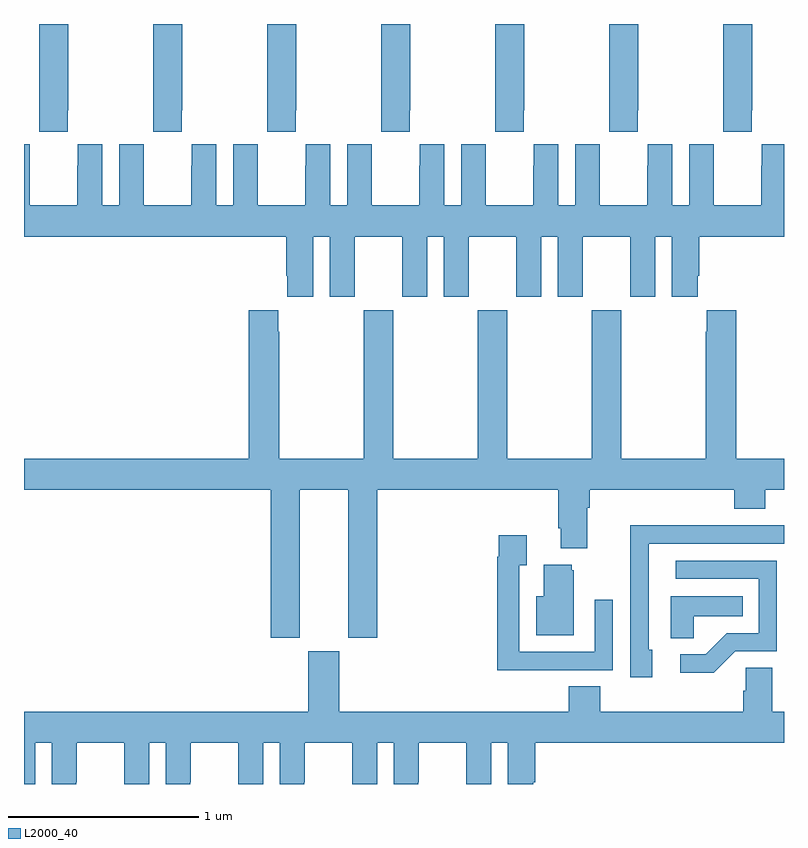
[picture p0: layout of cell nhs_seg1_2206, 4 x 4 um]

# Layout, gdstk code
import gdstk
lib = gdstk.Library(unit=1e-6, precision=1e-09)
def P(c, l, *ps):  # polygons
    for p in ps: c.add(gdstk.Polygon(p, *l))
L2000_40 = (2000, 40)

nhs_seg1_2206 = lib.new_cell('nhs_seg1_2206')
P(nhs_seg1_2206, L2000_40, [(232.431,537.745),(232.434,537.745),(232.434,538.199),(232.279,538.199),(232.279,537.745),(232.281,537.745),(232.281,537.633),(232.431,537.633)],
  [(233.031,537.745),(233.034,537.745),(233.034,538.199),(232.879,538.199),(232.879,537.745),(232.881,537.745),(232.881,537.633),(233.031,537.633)],
  [(233.631,537.745),(233.634,537.745),(233.634,538.199),(233.479,538.199),(233.479,537.745),(233.481,537.745),(233.481,537.633),(233.631,537.633)],
  [(234.231,537.745),(234.234,537.745),(234.234,538.199),(234.079,538.199),(234.079,537.745),(234.081,537.745),(234.081,537.633),(234.231,537.633)],
  [(234.831,537.745),(234.834,537.745),(234.834,538.199),(234.679,538.199),(234.679,537.745),(234.681,537.745),(234.681,537.633),(234.831,537.633)],
  [(231.231,537.745),(231.234,537.745),(231.234,538.199),(231.079,538.199),(231.079,537.745),(231.081,537.745),(231.081,537.633),(231.231,537.633)],
  [(231.831,537.745),(231.834,537.745),(231.834,538.199),(231.679,538.199),(231.679,537.745),(231.681,537.745),(231.681,537.633),(231.831,537.633)],
  [(233.591,536.763),(233.722,536.763),(233.722,537.08),(233.81,537.08),(233.81,536.763),(233.941,536.763),(233.941,537.08),(234.191,537.08),(234.191,536.763),(234.322,536.763),(234.322,537.08),(234.41,537.08),(234.41,536.763),(234.547,536.763),(234.547,536.875),(234.554,536.875),(234.554,537.08),(235,537.08),(235,537.565),(234.882,537.565),(234.882,537.452),(234.881,537.452),(234.881,537.244),(234.631,537.244),(234.631,537.452),(234.63,537.452),(234.63,537.565),(234.5,537.565),(234.5,537.244),(234.412,537.244),(234.412,537.565),(234.282,537.565),(234.282,537.452),(234.281,537.452),(234.281,537.244),(234.031,537.244),(234.031,537.452),(234.03,537.452),(234.03,537.565),(233.9,537.565),(233.9,537.244),(233.812,537.244),(233.812,537.565),(233.682,537.565),(233.682,537.452),(233.681,537.452),(233.681,537.244),(233.431,537.244),(233.431,537.452),(233.43,537.452),(233.43,537.565),(233.3,537.565),(233.3,537.244),(233.212,537.244),(233.212,537.565),(233.082,537.565),(233.082,537.452),(233.081,537.452),(233.081,537.244),(232.831,537.244),(232.831,537.452),(232.83,537.452),(232.83,537.565),(232.7,537.565),(232.7,537.244),(232.612,537.244),(232.612,537.565),(232.482,537.565),(232.482,537.452),(232.481,537.452),(232.481,537.244),(232.231,537.244),(232.231,537.452),(232.23,537.452),(232.23,537.565),(232.1,537.565),(232.1,537.244),(232.012,537.244),(232.012,537.565),(231.882,537.565),(231.882,537.452),(231.881,537.452),(231.881,537.244),(231.631,537.244),(231.631,537.452),(231.63,537.452),(231.63,537.565),(231.5,537.565),(231.5,537.244),(231.412,537.244),(231.412,537.565),(231.282,537.565),(231.282,537.452),(231.281,537.452),(231.281,537.244),(231.031,537.244),(231.031,537.452),(231.03,537.452),(231.03,537.565),(231,537.565),(231,537.08),(232.379,537.08),(232.379,536.875),(232.385,536.875),(232.385,536.763),(232.522,536.763),(232.522,537.08),(232.61,537.08),(232.61,536.763),(232.741,536.763),(232.741,537.08),(232.991,537.08),(232.991,536.763),(233.122,536.763),(233.122,537.08),(233.21,537.08),(233.21,536.763),(233.341,536.763),(233.341,537.08),(233.591,537.08)],
  [(232.45,535.748),(232.706,535.748),(232.706,534.969),(232.859,534.969),(232.859,535.748),(233.813,535.748),(233.813,535.546),(233.825,535.546),(233.825,535.439),(233.965,535.439),(233.965,535.652),(233.978,535.652),(233.978,535.748),(234.737,535.748),(234.737,535.649),(234.902,535.649),(234.902,535.748),(235,535.748),(235,535.912),(234.749,535.912),(234.749,536.692),(234.593,536.692),(234.593,536.579),(234.589,536.579),(234.589,535.912),(234.144,535.912),(234.144,536.692),(233.989,536.692),(233.989,535.912),(233.544,535.912),(233.544,536.692),(233.389,536.692),(233.389,535.912),(232.944,535.912),(232.944,536.692),(232.789,536.692),(232.789,535.912),(232.344,535.912),(232.344,536.579),(232.339,536.579),(232.339,536.692),(232.184,536.692),(232.184,535.912),(231,535.912),(231,535.748),(232.298,535.748),(232.298,534.969),(232.45,534.969)],
  [(234.307,534.906),(234.288,534.906),(234.288,535.464),(235,535.464),(235,535.56),(234.653,535.56),(234.653,535.562),(234.19,535.562),(234.19,535.255),(234.192,535.255),(234.192,534.762),(234.307,534.762)],
  [(233.783,534.798),(234.099,534.798),(234.099,535.168),(234.003,535.168),(234.003,534.894),(233.607,534.894),(233.607,535.351),(233.647,535.351),(233.647,535.507),(233.499,535.507),(233.499,535.394),(233.491,535.394),(233.491,534.797),(233.783,534.797)],
  [(234.744,534.897),(234.963,534.897),(234.963,535.374),(234.429,535.374),(234.429,535.278),(234.867,535.278),(234.867,534.993),(234.698,534.993),(234.587,534.882),(234.453,534.882),(234.453,534.785),(234.631,534.785)],
  [(233.893,535.323),(233.882,535.323),(233.882,535.354),(233.735,535.354),(233.735,535.186),(233.696,535.186),(233.696,534.983),(233.893,534.983)],
  [(234.525,535.082),(234.782,535.082),(234.782,535.186),(234.404,535.186),(234.404,534.967),(234.525,534.967)],
  [(231,534.199),(231.058,534.199),(231.058,534.416),(231.146,534.416),(231.146,534.199),(231.276,534.199),(231.276,534.208),(231.277,534.208),(231.277,534.416),(231.527,534.416),(231.527,534.208),(231.528,534.208),(231.528,534.199),(231.658,534.199),(231.658,534.416),(231.746,534.416),(231.746,534.199),(231.876,534.199),(231.876,534.208),(231.877,534.208),(231.877,534.416),(232.127,534.416),(232.127,534.208),(232.128,534.208),(232.128,534.199),(232.258,534.199),(232.258,534.416),(232.346,534.416),(232.346,534.199),(232.476,534.199),(232.476,534.208),(232.477,534.208),(232.477,534.416),(232.727,534.416),(232.727,534.208),(232.728,534.208),(232.728,534.199),(232.858,534.199),(232.858,534.416),(232.946,534.416),(232.946,534.199),(233.076,534.199),(233.076,534.208),(233.077,534.208),(233.077,534.416),(233.327,534.416),(233.327,534.208),(233.328,534.208),(233.328,534.199),(233.458,534.199),(233.458,534.416),(233.546,534.416),(233.546,534.199),(233.68,534.199),(233.68,534.208),(233.69,534.208),(233.69,534.416),(235,534.416),(235,534.58),(234.937,534.58),(234.937,534.812),(234.798,534.812),(234.798,534.689),(234.785,534.689),(234.785,534.58),(234.032,534.58),(234.032,534.713),(233.867,534.713),(233.867,534.58),(232.66,534.58),(232.66,534.897),(232.496,534.897),(232.496,534.58),(231,534.58)])

lib.write_gds('nhs_seg1_2206.gds')
